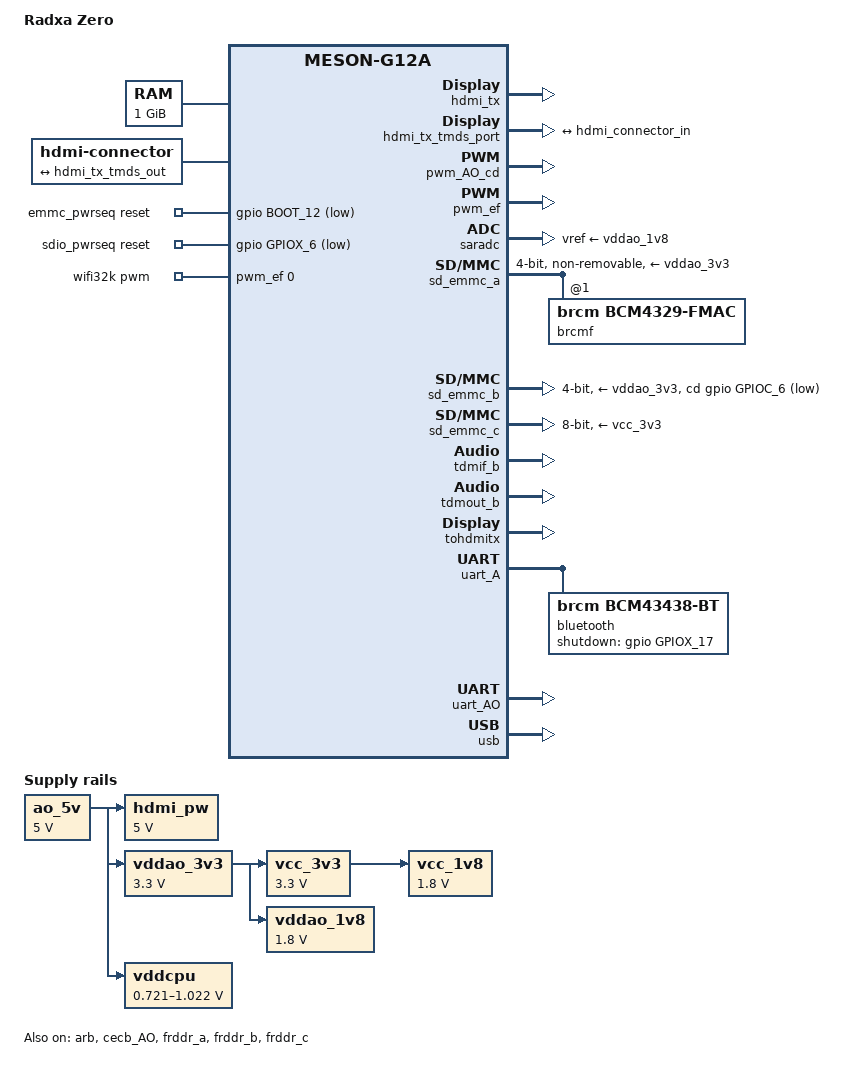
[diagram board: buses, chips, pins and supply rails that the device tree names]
// SPDX-License-Identifier: (GPL-2.0+ OR MIT)
/*
 * Copyright (c) 2018 BayLibre SAS. All rights reserved.
 */

/dts-v1/;

#include "meson-g12a.dtsi"
#include <dt-bindings/gpio/meson-g12a-gpio.h>
#include <dt-bindings/sound/meson-g12a-tohdmitx.h>

/ {
	compatible = "radxa,zero", "amlogic,g12a";
	model = "Radxa Zero";

	aliases {
		serial0 = &uart_AO;
	};

	chosen {
		stdout-path = "serial0:115200n8";
	};

	memory@0 {
		device_type = "memory";
		reg = <0x0 0x0 0x0 0x40000000>;
	};

	cvbs-connector {
		status = "disabled";
		compatible = "composite-video-connector";

		port {
			cvbs_connector_in: endpoint {
				remote-endpoint = <&cvbs_vdac_out>;
			};
		};
	};

	hdmi-connector {
		compatible = "hdmi-connector";
		type = "a";

		port {
			hdmi_connector_in: endpoint {
				remote-endpoint = <&hdmi_tx_tmds_out>;
			};
		};
	};

	emmc_pwrseq: emmc-pwrseq {
		compatible = "mmc-pwrseq-emmc";
		reset-gpios = <&gpio BOOT_12 GPIO_ACTIVE_LOW>;
	};

	sdio_pwrseq: sdio-pwrseq {
		compatible = "mmc-pwrseq-simple";
		reset-gpios = <&gpio GPIOX_6 GPIO_ACTIVE_LOW>;
		clocks = <&wifi32k>;
		clock-names = "ext_clock";
	};

	ao_5v: regulator-ao_5v {
		compatible = "regulator-fixed";
		regulator-name = "AO_5V";
		regulator-min-microvolt = <5000000>;
		regulator-max-microvolt = <5000000>;
		regulator-always-on;
	};

	vcc_1v8: regulator-vcc_1v8 {
		compatible = "regulator-fixed";
		regulator-name = "VCC_1V8";
		regulator-min-microvolt = <1800000>;
		regulator-max-microvolt = <1800000>;
		vin-supply = <&vcc_3v3>;
		regulator-always-on;
	};

	vcc_3v3: regulator-vcc_3v3 {
		compatible = "regulator-fixed";
		regulator-name = "VCC_3V3";
		regulator-min-microvolt = <3300000>;
		regulator-max-microvolt = <3300000>;
		vin-supply = <&vddao_3v3>;
		regulator-always-on;
	};

	hdmi_pw: regulator-hdmi_pw {
		compatible = "regulator-fixed";
		regulator-name = "HDMI_PW";
		regulator-min-microvolt = <5000000>;
		regulator-max-microvolt = <5000000>;
		vin-supply = <&ao_5v>;
		regulator-always-on;
	};

	vddao_1v8: regulator-vddao_1v8 {
		compatible = "regulator-fixed";
		regulator-name = "VDDAO_1V8";
		regulator-min-microvolt = <1800000>;
		regulator-max-microvolt = <1800000>;
		vin-supply = <&vddao_3v3>;
		regulator-always-on;
	};

	vddao_3v3: regulator-vddao_3v3 {
		compatible = "regulator-fixed";
		regulator-name = "VDDAO_3V3";
		regulator-min-microvolt = <3300000>;
		regulator-max-microvolt = <3300000>;
		vin-supply = <&ao_5v>;
		regulator-always-on;
	};

	vddcpu: regulator-vddcpu {
		compatible = "pwm-regulator";

		regulator-name = "VDDCPU";
		regulator-min-microvolt = <721000>;
		regulator-max-microvolt = <1022000>;

		vin-supply = <&ao_5v>;

		pwms = <&pwm_AO_cd 1 1250 0>;
		pwm-dutycycle-range = <100 0>;

		regulator-boot-on;
		regulator-always-on;
	};

	sound {
		compatible = "amlogic,axg-sound-card";
		model = "RADXA-ZERO";
		audio-aux-devs = <&tdmout_b>;
		audio-routing = "TDMOUT_B IN 0", "FRDDR_A OUT 1",
				"TDMOUT_B IN 1", "FRDDR_B OUT 1",
				"TDMOUT_B IN 2", "FRDDR_C OUT 1",
				"TDM_B Playback", "TDMOUT_B OUT";

		assigned-clocks = <&clkc CLKID_MPLL2>,
				  <&clkc CLKID_MPLL0>,
				  <&clkc CLKID_MPLL1>;
		assigned-clock-parents = <0>, <0>, <0>;
		assigned-clock-rates = <294912000>,
				       <270950400>,
				       <393216000>;

		dai-link-0 {
			sound-dai = <&frddr_a>;
		};

		dai-link-1 {
			sound-dai = <&frddr_b>;
		};

		dai-link-2 {
			sound-dai = <&frddr_c>;
		};

		/* 8ch hdmi interface */
		dai-link-3 {
			sound-dai = <&tdmif_b>;
			dai-format = "i2s";
			dai-tdm-slot-tx-mask-0 = <1 1>;
			dai-tdm-slot-tx-mask-1 = <1 1>;
			dai-tdm-slot-tx-mask-2 = <1 1>;
			dai-tdm-slot-tx-mask-3 = <1 1>;
			mclk-fs = <256>;

			codec {
				sound-dai = <&tohdmitx TOHDMITX_I2S_IN_B>;
			};
		};

		dai-link-4 {
			sound-dai = <&tohdmitx TOHDMITX_I2S_OUT>;

			codec {
				sound-dai = <&hdmi_tx>;
			};
		};
	};

	wifi32k: wifi32k {
		compatible = "pwm-clock";
		#clock-cells = <0>;
		clock-frequency = <32768>;
		pwms = <&pwm_ef 0 30518 0>; /* PWM_E at 32.768KHz */
	};
};

&arb {
	status = "okay";
};

&cec_AO {
	pinctrl-0 = <&cec_ao_a_h_pins>;
	pinctrl-names = "default";
	status = "disabled";
	hdmi-phandle = <&hdmi_tx>;
};

&cecb_AO {
	pinctrl-0 = <&cec_ao_b_h_pins>;
	pinctrl-names = "default";
	status = "okay";
	hdmi-phandle = <&hdmi_tx>;
};

&clkc_audio {
	status = "okay";
};

&cpu0 {
	cpu-supply = <&vddcpu>;
	operating-points-v2 = <&cpu_opp_table>;
	clocks = <&clkc CLKID_CPU_CLK>;
	clock-latency = <50000>;
};

&cpu1 {
	cpu-supply = <&vddcpu>;
	operating-points-v2 = <&cpu_opp_table>;
	clocks = <&clkc CLKID_CPU_CLK>;
	clock-latency = <50000>;
};

&cpu2 {
	cpu-supply = <&vddcpu>;
	operating-points-v2 = <&cpu_opp_table>;
	clocks = <&clkc CLKID_CPU_CLK>;
	clock-latency = <50000>;
};

&cpu3 {
	cpu-supply = <&vddcpu>;
	operating-points-v2 = <&cpu_opp_table>;
	clocks = <&clkc CLKID_CPU_CLK>;
	clock-latency = <50000>;
};

&cvbs_vdac_port {
	cvbs_vdac_out: endpoint {
		remote-endpoint = <&cvbs_connector_in>;
	};
};

&frddr_a {
	status = "okay";
};

&frddr_b {
	status = "okay";
};

&frddr_c {
	status = "okay";
};

&hdmi_tx {
	status = "okay";
	pinctrl-0 = <&hdmitx_hpd_pins>, <&hdmitx_ddc_pins>;
	pinctrl-names = "default";
	hdmi-supply = <&hdmi_pw>;
};

&hdmi_tx_tmds_port {
	hdmi_tx_tmds_out: endpoint {
		remote-endpoint = <&hdmi_connector_in>;
	};
};

&ir {
	status = "disabled";
	pinctrl-0 = <&remote_input_ao_pins>;
	pinctrl-names = "default";
};

&pwm_AO_cd {
	pinctrl-0 = <&pwm_ao_d_e_pins>;
	pinctrl-names = "default";
	clocks = <&xtal>;
	clock-names = "clkin1";
	status = "okay";
};

&pwm_ef {
	status = "okay";
	pinctrl-0 = <&pwm_e_pins>;
	pinctrl-names = "default";
	clocks = <&xtal>;
	clock-names = "clkin0";
};

&saradc {
	status = "okay";
	vref-supply = <&vddao_1v8>;
};

/* SDIO */
&sd_emmc_a {
	status = "okay";
	pinctrl-0 = <&sdio_pins>;
	pinctrl-1 = <&sdio_clk_gate_pins>;
	pinctrl-names = "default", "clk-gate";
	#address-cells = <1>;
	#size-cells = <0>;

	bus-width = <4>;
	cap-sd-highspeed;
	sd-uhs-sdr50;
	max-frequency = <100000000>;

	non-removable;
	disable-wp;

	/* WiFi firmware requires power to be kept while in suspend */
	keep-power-in-suspend;

	mmc-pwrseq = <&sdio_pwrseq>;

	vmmc-supply = <&vddao_3v3>;
	vqmmc-supply = <&vddao_1v8>;

	brcmf: wifi@1 {
		reg = <1>;
		compatible = "brcm,bcm4329-fmac";
	};
};

/* SD card */
&sd_emmc_b {
	status = "okay";
	pinctrl-0 = <&sdcard_c_pins>;
	pinctrl-1 = <&sdcard_clk_gate_c_pins>;
	pinctrl-names = "default", "clk-gate";

	bus-width = <4>;
	cap-sd-highspeed;
	max-frequency = <100000000>;
	disable-wp;

	cd-gpios = <&gpio GPIOC_6 GPIO_ACTIVE_LOW>;
	vmmc-supply = <&vddao_3v3>;
	vqmmc-supply = <&vddao_3v3>;
};

/* eMMC */
&sd_emmc_c {
	status = "okay";
	pinctrl-0 = <&emmc_ctrl_pins>, <&emmc_data_8b_pins>, <&emmc_ds_pins>;
	pinctrl-1 = <&emmc_clk_gate_pins>;
	pinctrl-names = "default", "clk-gate";

	bus-width = <8>;
	cap-mmc-highspeed;
	mmc-ddr-1_8v;
	mmc-hs200-1_8v;
	max-frequency = <200000000>;
	disable-wp;

	mmc-pwrseq = <&emmc_pwrseq>;
	vmmc-supply = <&vcc_3v3>;
	vqmmc-supply = <&vcc_1v8>;
};

&tdmif_b {
	status = "okay";
};

&tdmout_b {
	status = "okay";
};

&tohdmitx {
	status = "okay";
};

&uart_A {
	status = "okay";
	pinctrl-0 = <&uart_a_pins>, <&uart_a_cts_rts_pins>;
	pinctrl-names = "default";
	uart-has-rtscts;

	bluetooth {
		compatible = "brcm,bcm43438-bt";
		shutdown-gpios = <&gpio GPIOX_17 GPIO_ACTIVE_HIGH>;
		max-speed = <2000000>;
		clocks = <&wifi32k>;
		clock-names = "lpo";
	};
};

&uart_AO {
	status = "okay";
	pinctrl-0 = <&uart_ao_a_pins>;
	pinctrl-names = "default";
};

&usb {
	status = "okay";
};
